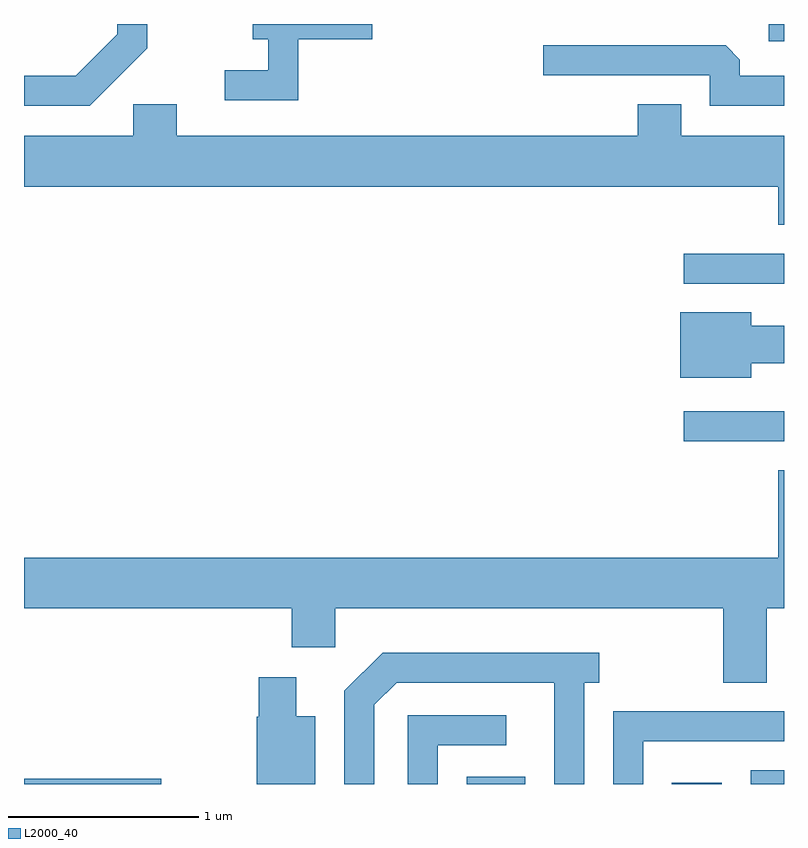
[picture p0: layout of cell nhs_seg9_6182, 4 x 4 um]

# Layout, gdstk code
import gdstk
lib = gdstk.Library(unit=1e-6, precision=1e-09)
def R(c, l, rs):  # rectangles x0, y0, x1, y1
    for r in rs: c.add(gdstk.rectangle(r[:2], r[2:], *l))
def P(c, l, *ps):  # polygons
    for p in ps: c.add(gdstk.Polygon(p, *l))
L2000_40 = (2000, 40)

nhs_seg9_6182 = lib.new_cell('nhs_seg9_6182')
R(nhs_seg9_6182, L2000_40, [(367.611,2006.432,368.334,2006.459), (369.941,2006.432,370.249,2006.469), (371.021,2006.432,371.284,2006.439), (371.436,2006.432,371.611,2006.504), (371.083,2008.236,371.611,2008.394), (371.083,2009.066,371.611,2009.224), (371.531,2010.341,371.611,2010.432)])
P(nhs_seg9_6182, L2000_40, [(369.054,2010.351),(369.444,2010.351),(369.444,2010.432),(368.816,2010.432),(368.816,2010.351),(368.896,2010.351),(368.896,2010.189),(368.668,2010.189),(368.668,2010.031),(369.054,2010.031)],
  [(368.259,2010.304),(368.259,2010.432),(368.101,2010.432),(368.101,2010.377),(367.884,2010.159),(367.611,2010.159),(367.611,2010.001),(367.957,2010.001)],
  [(371.611,2010.159),(371.379,2010.159),(371.379,2010.244),(371.304,2010.319),(370.343,2010.319),(370.343,2010.161),(371.221,2010.161),(371.221,2010.001),(371.611,2010.001)],
  [(371.611,2009.844),(371.069,2009.844),(371.069,2010.009),(370.841,2010.009),(370.841,2009.844),(368.414,2009.844),(368.414,2010.009),(368.186,2010.009),(368.186,2009.844),(367.611,2009.844),(367.611,2009.576),(371.581,2009.576),(371.581,2009.376),(371.611,2009.376)],
  [(371.439,2008.646),(371.611,2008.646),(371.611,2008.844),(371.439,2008.844),(371.439,2008.914),(371.066,2008.914),(371.066,2008.571),(371.439,2008.571)],
  [(367.611,2007.356),(369.021,2007.356),(369.021,2007.151),(369.249,2007.151),(369.249,2007.356),(371.291,2007.356),(371.291,2006.966),(371.519,2006.966),(371.519,2007.356),(371.611,2007.356),(371.611,2008.084),(371.581,2008.084),(371.581,2007.624),(367.611,2007.624)],
  [(369.454,2006.849),(369.572,2006.966),(370.401,2006.966),(370.401,2006.432),(370.559,2006.432),(370.559,2006.966),(370.638,2006.966),(370.638,2007.124),(369.499,2007.124),(369.296,2006.922),(369.296,2006.432),(369.454,2006.432)],
  [(369.144,2006.789),(369.044,2006.789),(369.044,2006.994),(368.846,2006.994),(368.846,2006.785),(368.836,2006.785),(368.836,2006.432),(369.144,2006.432)],
  [(370.869,2006.656),(371.611,2006.656),(371.611,2006.814),(370.711,2006.814),(370.711,2006.432),(370.869,2006.432)],
  [(369.789,2006.636),(370.148,2006.636),(370.148,2006.794),(369.631,2006.794),(369.631,2006.432),(369.789,2006.432)])

lib.write_gds('nhs_seg9_6182.gds')
